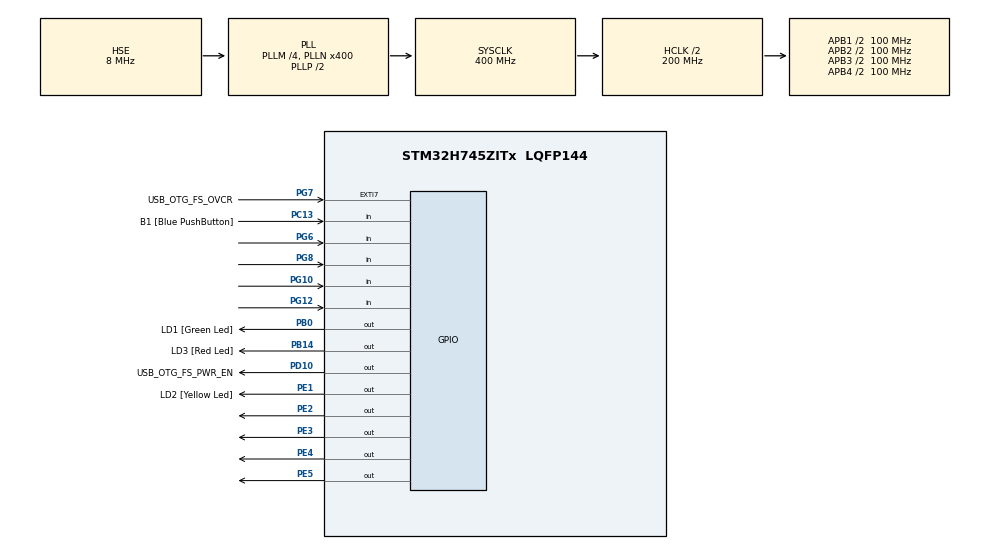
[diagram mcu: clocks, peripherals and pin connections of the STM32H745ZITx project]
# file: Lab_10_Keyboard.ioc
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CortexM4.IPs=FATFS_M4\:I,FREERTOS_M4\:I,IWDG2\:I,RCC,WWDG2\:I,DMA,BDMA,MDMA,NVIC2\:I,USART3,ETH,DEBUG,PDM2PCM_M4\:I,PWR,RESMGR_UTILITY,SYS_M4\:I,USB_DEVICE_M4\:I,USB_HOST_M4\:I,CORTEX_M4\:I,GPIO,OPENAMP_M4\:I,VREFBUF
CortexM7.IPs=FATFS_M7\:I,FREERTOS_M7\:I,IWDG1\:I,RCC\:I,WWDG1\:I,DMA\:I,BDMA\:I,MDMA\:I,NVIC1\:I,SYS\:I,USART3\:I,USB_OTG_FS\:I,ETH\:I,CORTEX_M7\:I,DEBUG\:I,PDM2PCM_M7\:I,PWR\:I,RESMGR_UTILITY\:I,USB_DEVICE_M7\:I,USB_HOST_M7\:I,GPIO\:I,OPENAMP_M7\:I,VREFBUF\:I
CortexM7.Pins=PE2,PE3,PE4,PE5,PG6,PG8,PG10,PG12
Mcu.Family=STM32H7
Mcu.Name=STM32H745ZITx
Mcu.Package=LQFP144
NVIC1.PriorityGroup=NVIC_PRIORITYGROUP_4
NVIC2.PriorityGroup=NVIC_PRIORITYGROUP_4
PA1.PinAttribute=CortexM7
PA1.Signal=ETH_REF_CLK
PA11.PinAttribute=CortexM7
PA11.Signal=USB_OTG_FS_DM
PA12.PinAttribute=CortexM7
PA12.Signal=USB_OTG_FS_DP
PA2.PinAttribute=CortexM7
PA2.Signal=ETH_MDIO
PA7.PinAttribute=CortexM7
PA7.Signal=ETH_CRS_DV
PA9.PinAttribute=CortexM7
PA9.Signal=USB_OTG_FS_VBUS
PB0.GPIO_Label=LD1 [Green Led]
PB0.PinAttribute=Free
PB0.Signal=GPIO_Output
PB13.PinAttribute=CortexM7
PB13.Signal=ETH_TXD1
PB14.GPIO_Label=LD3 [Red Led]
PB14.PinAttribute=Free
PB14.Signal=GPIO_Output
PC1.PinAttribute=CortexM7
PC1.Signal=ETH_MDC
PC13.GPIO_Label=B1 [Blue PushButton]
PC13.PinAttribute=Free
PC13.Signal=GPIO_Input
PC14-OSC32_IN\ (OSC32_IN).PinAttribute=CortexM7
PC14-OSC32_IN\ (OSC32_IN).Signal=RCC_OSC32_IN
PC15-OSC32_OUT\ (OSC32_OUT).PinAttribute=CortexM7
PC15-OSC32_OUT\ (OSC32_OUT).Signal=RCC_OSC32_OUT
PC4.PinAttribute=CortexM7
PC4.Signal=ETH_RXD0
PC5.PinAttribute=CortexM7
PC5.Signal=ETH_RXD1
PD10.GPIO_Label=USB_OTG_FS_PWR_EN
PD10.PinAttribute=Free
PD10.Signal=GPIO_Output
PD8.GPIO_Label=STLINK_RX
PD8.PinAttribute=CortexM7
PD8.Signal=USART3_TX
PD9.GPIO_Label=STLINK_TX
PD9.PinAttribute=CortexM7
PD9.Signal=USART3_RX
PE1.GPIO_Label=LD2 [Yellow Led]
PE1.PinAttribute=Free
PE1.Signal=GPIO_Output
PE2.PinAttribute=CortexM7
PE2.Signal=GPIO_Output
PE3.PinAttribute=CortexM7
PE3.Signal=GPIO_Output
PE4.PinAttribute=CortexM7
PE4.Signal=GPIO_Output
PE5.PinAttribute=CortexM7
PE5.Signal=GPIO_Output
PG10.PinAttribute=CortexM7
PG10.Signal=GPIO_Input
PG11.PinAttribute=CortexM7
PG11.Signal=ETH_TX_EN
PG12.PinAttribute=CortexM7
PG12.Signal=GPIO_Input
PG13.PinAttribute=CortexM7
PG13.Signal=ETH_TXD0
PG6.PinAttribute=CortexM7
PG6.Signal=GPIO_Input
PG7.GPIO_Label=USB_OTG_FS_OVCR
PG7.PinAttribute=Free
PG7.Signal=GPXTI7
PG8.PinAttribute=CortexM7
PG8.Signal=GPIO_Input
PH0-OSC_IN\ (PH0).Mode=HSE-External-Clock-Source
PH0-OSC_IN\ (PH0).PinAttribute=CortexM7
PH0-OSC_IN\ (PH0).Signal=RCC_OSC_IN
PH1-OSC_OUT\ (PH1).PinAttribute=CortexM7
PH1-OSC_OUT\ (PH1).Signal=RCC_OSC_OUT
ProjectManager.HeapSize=M4-0x200,M7-0x200
ProjectManager.StackSize=M4-0x400,M7-0x400
ProjectManager.TargetToolchain=STM32CubeIDE
RCC.ADCFreq_Value=16125000
RCC.APB1Freq_Value=100000000
RCC.APB2Freq_Value=100000000
RCC.APB3Freq_Value=100000000
RCC.APB4Freq_Value=100000000
RCC.CortexFreq_Value=400000000
RCC.D1PPRE=RCC_APB3_DIV2
RCC.D2PPRE1=RCC_APB1_DIV2
RCC.D2PPRE2=RCC_APB2_DIV2
RCC.D3PPRE=RCC_APB4_DIV2
RCC.DIVM1=4
RCC.DIVM3=22
RCC.DIVN1=400
RCC.DIVN3=169
RCC.DIVQ3=4
RCC.HCLKFreq_Value=200000000
RCC.HPRE=RCC_HCLK_DIV2
RCC.HSE_VALUE=8000000
RCC.PLL2FRACN=0
RCC.PLL3FRACN=0
RCC.PLLFRACN=0
RCC.PLLSourceVirtual=RCC_PLLSOURCE_HSE
RCC.SYSCLKFreq_VALUE=400000000
RCC.SYSCLKSource=RCC_SYSCLKSOURCE_PLLCLK
RCC.SupplySource=PWR_DIRECT_SMPS_SUPPLY
RCC.USBCLockSelection=RCC_USBCLKSOURCE_PLL3
RCC.USBFreq_Value=15363636.363636363
VP_SYS_M4_VS_Systick.Mode=SysTick
board=NUCLEO-H745ZI-Q

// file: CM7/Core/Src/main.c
/* USER CODE BEGIN Header */
/**
  ******************************************************************************
  * @file           : main.c
  * @brief          : Main program body
  ******************************************************************************
  * @attention
  *
  * Copyright (c) 2024 STMicroelectronics.
  * All rights reserved.
  *
  * This software is licensed under terms that can be found in the LICENSE file
  * in the root directory of this software component.
  * If no LICENSE file comes with this software, it is provided AS-IS.
  *
  ******************************************************************************
  */
/* USER CODE END Header */
#include <stdio.h>
#include "main.h"

/* USER CODE BEGIN PD */

#ifndef HSEM_ID_0
#define HSEM_ID_0 (0U) /* HW semaphore 0*/
#endif
/* USER CODE END PD */

void SystemClock_Config(void);
static void MX_GPIO_Init(void);

/* USER CODE BEGIN 0 */
int __io_putchar(int ch)
{
  // Write character to ITM ch.0
  ITM_SendChar(ch);
  return(ch);
}

/* USER CODE END 0 */

int main(void)
{
/* USER CODE BEGIN Boot_Mode_Sequence_0 */
  int32_t timeout;
/* USER CODE END Boot_Mode_Sequence_0 */

/* USER CODE BEGIN Boot_Mode_Sequence_1 */
  /* Wait until CPU2 boots and enters in stop mode or timeout*/
  timeout = 0xFFFF;
  while((__HAL_RCC_GET_FLAG(RCC_FLAG_D2CKRDY) != RESET) && (timeout-- > 0));
  if ( timeout < 0 )
  {
  Error_Handler();
  }
/* USER CODE END Boot_Mode_Sequence_1 */
  /* MCU Configuration--------------------------------------------------------*/

  /* Reset of all peripherals, Initializes the Flash interface and the Systick. */
  HAL_Init();

  /* Configure the system clock */
  SystemClock_Config();
/* USER CODE BEGIN Boot_Mode_Sequence_2 */
/* When system initialization is finished, Cortex-M7 will release Cortex-M4 by means of
HSEM notification */
/*HW semaphore Clock enable*/
__HAL_RCC_HSEM_CLK_ENABLE();
/*Take HSEM */
HAL_HSEM_FastTake(HSEM_ID_0);
/*Release HSEM in order to notify the CPU2(CM4)*/
HAL_HSEM_Release(HSEM_ID_0,0);
/* wait until CPU2 wakes up from stop mode */
timeout = 0xFFFF;
while((__HAL_RCC_GET_FLAG(RCC_FLAG_D2CKRDY) == RESET) && (timeout-- > 0));
if ( timeout < 0 )
{
Error_Handler();
}
/* USER CODE END Boot_Mode_Sequence_2 */

  /* Initialize all configured peripherals */
  MX_GPIO_Init();

  /* Infinite loop */
  /* USER CODE BEGIN WHILE */
  GPIO_PinState state = GPIO_PIN_RESET;

  HAL_GPIO_WritePin(GPIOE, GPIO_PIN_2, GPIO_PIN_RESET);

  char* symbols[] = {
		  '1', '4', '7', '*',
		  '2', '5', '8', '0',
		  '3', '6', '9', '#',
		  'A', 'B', 'C', 'D',
  };

  int* cols[] = {GPIO_PIN_2, GPIO_PIN_3, GPIO_PIN_4, GPIO_PIN_5};

  int* rows[] = {GPIO_PIN_6, GPIO_PIN_8, GPIO_PIN_10, GPIO_PIN_12};

  while (1)
  {
	  int flag = 0;
	  for (int i = 0; i < 4; i++) {
		  HAL_GPIO_WritePin(GPIOE, cols[i], GPIO_PIN_RESET);

		  for (int j = 0; j < 4; j++) {
			  state = HAL_GPIO_ReadPin(GPIOG, rows[j]);
			  if (state == 0) {
				  printf("%c\r\n", symbols[i*4+j]);
				  flag = 1;
				  continue;
			  }
		  }

		  HAL_GPIO_WritePin(GPIOE, cols[i], GPIO_PIN_SET);
	  }

	  if (flag == 0) {
		  printf("empty\r\n");
	  }

	  HAL_Delay(100);
    /* USER CODE END WHILE */

  }
}

void SystemClock_Config(void)
{
  RCC_OscInitTypeDef RCC_OscInitStruct = {0};
  RCC_ClkInitTypeDef RCC_ClkInitStruct = {0};

  /** Supply configuration update enable
  */
  HAL_PWREx_ConfigSupply(PWR_DIRECT_SMPS_SUPPLY);

  /** Configure the main internal regulator output voltage
  */
  __HAL_PWR_VOLTAGESCALING_CONFIG(PWR_REGULATOR_VOLTAGE_SCALE1);

  while(!__HAL_PWR_GET_FLAG(PWR_FLAG_VOSRDY)) {}

  /** Initializes the RCC Oscillators according to the specified parameters
  * in the RCC_OscInitTypeDef structure.
  */
  RCC_OscInitStruct.OscillatorType = RCC_OSCILLATORTYPE_HSE;
  RCC_OscInitStruct.HSEState = RCC_HSE_BYPASS;
  RCC_OscInitStruct.PLL.PLLState = RCC_PLL_ON;
  RCC_OscInitStruct.PLL.PLLSource = RCC_PLLSOURCE_HSE;
  RCC_OscInitStruct.PLL.PLLM = 4;
  RCC_OscInitStruct.PLL.PLLN = 400;
  RCC_OscInitStruct.PLL.PLLP = 2;
  RCC_OscInitStruct.PLL.PLLQ = 2;
  RCC_OscInitStruct.PLL.PLLR = 2;
  RCC_OscInitStruct.PLL.PLLRGE = RCC_PLL1VCIRANGE_1;
  RCC_OscInitStruct.PLL.PLLVCOSEL = RCC_PLL1VCOWIDE;
  RCC_OscInitStruct.PLL.PLLFRACN = 0;
  if (HAL_RCC_OscConfig(&RCC_OscInitStruct) != HAL_OK)
  {
    Error_Handler();
  }

  /** Initializes the CPU, AHB and APB buses clocks
  */
  RCC_ClkInitStruct.ClockType = RCC_CLOCKTYPE_HCLK|RCC_CLOCKTYPE_SYSCLK
                              |RCC_CLOCKTYPE_PCLK1|RCC_CLOCKTYPE_PCLK2
                              |RCC_CLOCKTYPE_D3PCLK1|RCC_CLOCKTYPE_D1PCLK1;
  RCC_ClkInitStruct.SYSCLKSource = RCC_SYSCLKSOURCE_PLLCLK;
  RCC_ClkInitStruct.SYSCLKDivider = RCC_SYSCLK_DIV1;
  RCC_ClkInitStruct.AHBCLKDivider = RCC_HCLK_DIV2;
  RCC_ClkInitStruct.APB3CLKDivider = RCC_APB3_DIV2;
  RCC_ClkInitStruct.APB1CLKDivider = RCC_APB1_DIV2;
  RCC_ClkInitStruct.APB2CLKDivider = RCC_APB2_DIV2;
  RCC_ClkInitStruct.APB4CLKDivider = RCC_APB4_DIV2;

  if (HAL_RCC_ClockConfig(&RCC_ClkInitStruct, FLASH_LATENCY_2) != HAL_OK)
  {
    Error_Handler();
  }
}

static void MX_GPIO_Init(void)
{
  GPIO_InitTypeDef GPIO_InitStruct = {0};

  /* GPIO Ports Clock Enable */
  __HAL_RCC_GPIOE_CLK_ENABLE();
  __HAL_RCC_GPIOC_CLK_ENABLE();
  __HAL_RCC_GPIOH_CLK_ENABLE();
  __HAL_RCC_GPIOA_CLK_ENABLE();
  __HAL_RCC_GPIOB_CLK_ENABLE();
  __HAL_RCC_GPIOD_CLK_ENABLE();
  __HAL_RCC_GPIOG_CLK_ENABLE();

  /*Configure GPIO pin Output Level */
  HAL_GPIO_WritePin(GPIOE, GPIO_PIN_2|GPIO_PIN_3|GPIO_PIN_4|GPIO_PIN_5, GPIO_PIN_RESET);

  /*Configure GPIO pins : PE2 PE3 PE4 PE5 */
  GPIO_InitStruct.Pin = GPIO_PIN_2|GPIO_PIN_3|GPIO_PIN_4|GPIO_PIN_5;
  GPIO_InitStruct.Mode = GPIO_MODE_OUTPUT_PP;
  GPIO_InitStruct.Pull = GPIO_NOPULL;
  GPIO_InitStruct.Speed = GPIO_SPEED_FREQ_LOW;
  HAL_GPIO_Init(GPIOE, &GPIO_InitStruct);

  /*Configure GPIO pins : PC1 PC4 PC5 */
  GPIO_InitStruct.Pin = GPIO_PIN_1|GPIO_PIN_4|GPIO_PIN_5;
  GPIO_InitStruct.Mode = GPIO_MODE_AF_PP;
  GPIO_InitStruct.Pull = GPIO_NOPULL;
  GPIO_InitStruct.Speed = GPIO_SPEED_FREQ_LOW;
  GPIO_InitStruct.Alternate = GPIO_AF11_ETH;
  HAL_GPIO_Init(GPIOC, &GPIO_InitStruct);

  /*Configure GPIO pins : PA1 PA2 PA7 */
  GPIO_InitStruct.Pin = GPIO_PIN_1|GPIO_PIN_2|GPIO_PIN_7;
  GPIO_InitStruct.Mode = GPIO_MODE_AF_PP;
  GPIO_InitStruct.Pull = GPIO_NOPULL;
  GPIO_InitStruct.Speed = GPIO_SPEED_FREQ_LOW;
  GPIO_InitStruct.Alternate = GPIO_AF11_ETH;
  HAL_GPIO_Init(GPIOA, &GPIO_InitStruct);

  /*Configure GPIO pin : PB13 */
  GPIO_InitStruct.Pin = GPIO_PIN_13;
  GPIO_InitStruct.Mode = GPIO_MODE_AF_PP;
  GPIO_InitStruct.Pull = GPIO_NOPULL;
  GPIO_InitStruct.Speed = GPIO_SPEED_FREQ_LOW;
  GPIO_InitStruct.Alternate = GPIO_AF11_ETH;
  HAL_GPIO_Init(GPIOB, &GPIO_InitStruct);

  /*Configure GPIO pins : PD8 PD9 */
  GPIO_InitStruct.Pin = GPIO_PIN_8|GPIO_PIN_9;
  GPIO_InitStruct.Mode = GPIO_MODE_AF_PP;
  GPIO_InitStruct.Pull = GPIO_NOPULL;
  GPIO_InitStruct.Speed = GPIO_SPEED_FREQ_LOW;
  GPIO_InitStruct.Alternate = GPIO_AF7_USART3;
  HAL_GPIO_Init(GPIOD, &GPIO_InitStruct);

  /*Configure GPIO pins : PG6 PG8 PG10 PG12 */
  GPIO_InitStruct.Pin = GPIO_PIN_6|GPIO_PIN_8|GPIO_PIN_10|GPIO_PIN_12;
  GPIO_InitStruct.Mode = GPIO_MODE_INPUT;
  GPIO_InitStruct.Pull = GPIO_NOPULL;
  HAL_GPIO_Init(GPIOG, &GPIO_InitStruct);

  /*Configure GPIO pins : PA11 PA12 */
  GPIO_InitStruct.Pin = GPIO_PIN_11|GPIO_PIN_12;
  GPIO_InitStruct.Mode = GPIO_MODE_AF_PP;
  GPIO_InitStruct.Pull = GPIO_NOPULL;
  GPIO_InitStruct.Speed = GPIO_SPEED_FREQ_LOW;
  GPIO_InitStruct.Alternate = GPIO_AF10_OTG1_FS;
  HAL_GPIO_Init(GPIOA, &GPIO_InitStruct);

  /*Configure GPIO pins : PG11 PG13 */
  GPIO_InitStruct.Pin = GPIO_PIN_11|GPIO_PIN_13;
  GPIO_InitStruct.Mode = GPIO_MODE_AF_PP;
  GPIO_InitStruct.Pull = GPIO_NOPULL;
  GPIO_InitStruct.Speed = GPIO_SPEED_FREQ_LOW;
  GPIO_InitStruct.Alternate = GPIO_AF11_ETH;
  HAL_GPIO_Init(GPIOG, &GPIO_InitStruct);

}

void Error_Handler(void)
{
  __disable_irq();
  while (1)
  {
  }
}
